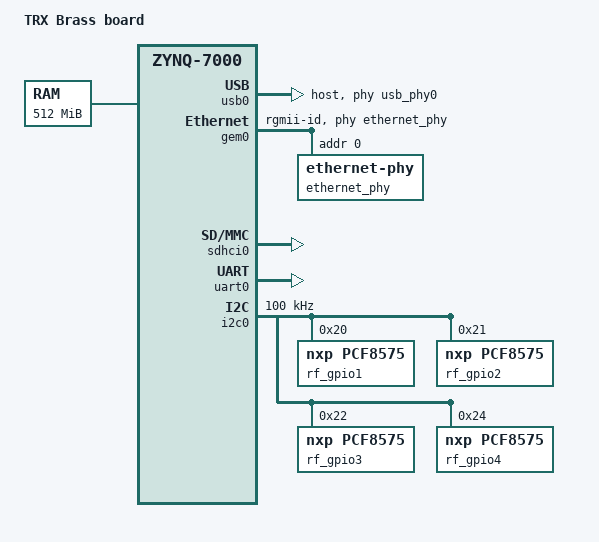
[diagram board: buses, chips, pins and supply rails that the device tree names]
// SPDX-License-Identifier: GPL-2.0+
/*
 *  Copyright (C) 2023 R1CBU
 */
/dts-v1/;
#include "zynq-7000.dtsi"

/ {
	model = "TRX Brass board";
	compatible = "xlnx,zynq-zed", "xlnx,zynq-7000";

	aliases {
		serial0 = &uart0;
		i2c0 = &i2c0;
		mmc0 = &sdhci0;
	};

	memory@0 {
		device_type = "memory";
		reg = <0x0 0x20000000>;
	};

	chosen {
		bootargs = "";
		stdout-path = "serial0:115200n8";
	};

	usb_phy0: phy0@e0002000 {
		compatible = "ulpi-phy";
		#phy-cells = <0>;
		reg = <0xe0002000 0x1000>;
		view-port = <0x0170>;
		drv-vbus;
	};
};

&usb0 {
	status = "okay";
	usb-reset = <&gpio0 8 0>;
	dr_mode = "host";
	usb-phy = <&usb_phy0>;
};

&gem0 {
	status = "okay";
	phy-mode = "rgmii-id";
	phy-handle = <&ethernet_phy>;
	enet-reset = <&gpio0 7 0>;

	ethernet_phy: ethernet-phy@0 {
		reg = <0>;
		device_type = "ethernet-phy";
	};
};

&clkc {
	ps-clk-frequency = <33333333>;
};

&sdhci0 {
	u-boot,dm-pre-reloc;
	status = "okay";
};

&uart0 {
	u-boot,dm-pre-reloc;
	status = "okay";
};

&i2c0 {
	status = "okay";
	clock-frequency = <100000>;

	/*
	 * PCF8575 has no register address: send exactly two data bytes.
	 * I2C0 is routed through PL (EMIO), so do not use early GPIO hogs.
	 * boot-env.txt resets these outputs after loading system.bit.
	 * Match the driver's software latch to that all-low state.
	 */
	rf_gpio1: gpio@20 {
		compatible = "nxp,pcf8575";
		reg = <0x20>;
		gpio-controller;
		#gpio-cells = <2>;
		u-boot,i2c-offset-len = <0>;
		lines-initial-states = <0xffff>;
	};

	rf_gpio2: gpio@21 {
		compatible = "nxp,pcf8575";
		reg = <0x21>;
		gpio-controller;
		#gpio-cells = <2>;
		u-boot,i2c-offset-len = <0>;
		lines-initial-states = <0xffff>;
	};

	rf_gpio3: gpio@22 {
		compatible = "nxp,pcf8575";
		reg = <0x22>;
		gpio-controller;
		#gpio-cells = <2>;
		u-boot,i2c-offset-len = <0>;
		lines-initial-states = <0xffff>;
	};

	rf_gpio4: gpio@24 {
		compatible = "nxp,pcf8575";
		reg = <0x24>;
		gpio-controller;
		#gpio-cells = <2>;
		u-boot,i2c-offset-len = <0>;
		lines-initial-states = <0xffff>;
	};
};
